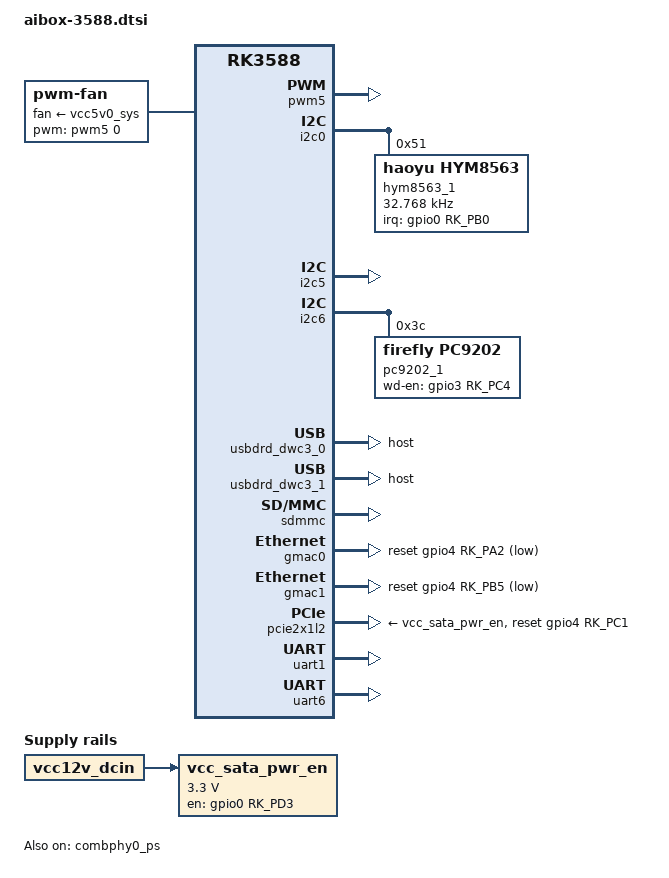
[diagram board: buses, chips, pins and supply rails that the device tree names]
// SPDX-License-Identifier: (GPL-2.0+ OR MIT)
/*
 * Copyright (c) 2021 Rockchip Electronics Co., Ltd.
 *
 */
 
 #define rk3588
 #include "rk3588-firefly-port.dtsi"
 #include "rk3588-diff.dtsi"

#define M2_SATA_OR_PCIE 0 /*1 = SATA , 0 = PCIe */

 / {
/* led */
	firefly_leds: leds {
		pinctrl-names = "default";
		pinctrl-0 =<&leds_gpio>;
		power_led: power {
			gpios = <&gpio2 RK_PC3 GPIO_ACTIVE_HIGH>;//blue led
		};

		user_led: user {
			gpios = < &gpio3 RK_PC1 GPIO_ACTIVE_HIGH>;//red led
		};

		user1_led: user1 {
			label = ":user1"; 
			default-state = "off";
			gpios = <&gpio3 RK_PC0 GPIO_ACTIVE_HIGH>;//green led
		};
	};

 	fan: pwm-fan {
		compatible = "pwm-fan";
		#cooling-cells = <2>;
		fan-supply = <&vcc5v0_sys>;
		pwms = <&pwm5 0 50000 0>;
		cooling-levels = <0 50 100 150 200 255>;
        rockchip,temp-trips = <
            50000   1
            55000   2
            60000   3
            65000   4
            70000   5
        >;
	};
};

&fiq_debugger{
	rockchip,baudrate = <115200>;  /* Only 115200 and 1500000 */
};

&pwm5 {
	pinctrl-0 = <&pwm5m1_pins>;
	status = "okay";
};

&i2c0 {

	status = "okay";

/* rtc */
	hym8563_1: hym8563_1@51 {
		compatible = "haoyu,hym8563";
		reg = <0x51>;
		#clock-cells = <0>;
		clock-frequency = <32768>;
		clock-output-names = "hym8563";
		pinctrl-names = "default";
		pinctrl-0 = <&hym8563_int>;
		interrupt-parent = <&gpio0>;
		interrupts = <RK_PB0 IRQ_TYPE_LEVEL_LOW>;
		wakeup-source;
		status = "okay";
	};

/* watch dog on core*/
    pc9202@3c {
        status = "disabled";
        compatible = "firefly,pc9202";
        reg = <0x3c>;
        wd-en-gpio = <&gpio2 RK_PC5 GPIO_ACTIVE_HIGH>;
    };
};

/* export pins */
&i2c5 {
	status = "okay";
	pinctrl-names = "default";
	pinctrl-0 = <&i2c5m0_xfer>;
};

&i2c6 {
	status = "okay";
	pinctrl-names = "default";
	pinctrl-0 = <&i2c6m0_xfer>;

/* watch dog on mother base*/
    pc9202_1@3c {
        status = "okay";
        compatible = "firefly,pc9202";
        reg = <0x3c>;
        wd-en-gpio = <&gpio3 RK_PC4 GPIO_ACTIVE_HIGH>;
    };
};

/* usb */
&vcc5v0_host{
	status = "okay";
	gpio = <&gpio4 RK_PC6 GPIO_ACTIVE_HIGH>;  
};
//up
&usbdrd_dwc3_0{
	/delete-property/ usb-role-switch;
	/delete-property/ dwc3_0_role_switch;
	dr_mode = "host";
};
//down
&usbdrd_dwc3_1{
	dr_mode = "host";
};

/* tf-card */
&sdmmc {
	status = "okay";
};

&vcc_sdcard_pwr_en{
	gpio = <&gpio1 RK_PA7 GPIO_ACTIVE_HIGH>; 
	status = "okay";
};

/* gamc0 */
&gmac0 {
	snps,reset-gpio = <&gpio4 RK_PA2 GPIO_ACTIVE_LOW>;
	tx_delay = <0x37>;
	status = "okay";
};

&gmac0_tx_bus2{
    rockchip,pins =
    /* gmac0_txd0 */
    <2 RK_PB6 1 &pcfg_pull_up_drv_level_6>,
    /* gmac0_txd1 */
    <2 RK_PB7 1 &pcfg_pull_up_drv_level_6>,
    /* gmac0_txen */
    <2 RK_PC0 1 &pcfg_pull_none>;
};

&gmac0_rgmii_bus{
	rockchip,pins =
	/* gmac0_rxd2 */
	<2 RK_PA6 1 &pcfg_pull_none>,
	/* gmac0_rxd3 */
	<2 RK_PA7 1 &pcfg_pull_none>,
	/* gmac0_txd2 */
	<2 RK_PB1 1 &pcfg_pull_up_drv_level_6>,
	/* gmac0_txd3 */
	<2 RK_PB2 1 &pcfg_pull_up_drv_level_6>;
};

/* gmac1 */
&gmac1 {
	snps,reset-gpio = <&gpio4 RK_PB5 GPIO_ACTIVE_LOW>;
	tx_delay = <0x47>;
	status = "okay";
};

&gmac1_tx_bus2{
	rockchip,pins =
	/* gmac1_txd0 */
	<3 RK_PB3 1 &pcfg_pull_up_drv_level_6>,
    /* gmac1_txd1 */
	<3 RK_PB4 1 &pcfg_pull_up_drv_level_6>,
	/* gmac1_txen */
	<3 RK_PB5 1 &pcfg_pull_none>;
};

&gmac1_rgmii_bus{
	rockchip,pins =
	/* gmac1_rxd2 */
	<3 RK_PA2 1 &pcfg_pull_none>,
	/* gmac1_rxd3 */
	<3 RK_PA3 1 &pcfg_pull_none>,
	/* gmac1_txd2 */
	<3 RK_PA0 1 &pcfg_pull_up_drv_level_6>,
	/* gmac1_txd3 */
	<3 RK_PA1 1 &pcfg_pull_up_drv_level_6>;
};

/* sata pm */
&combphy0_ps {
	status = "okay";
};


#if M2_SATA_OR_PCIE
&sata0 {
    //pinctrl-names = "default";
    //pinctrl-0 = <&sata_reset>;
	status = "okay";
};
#else
&pcie2x1l2 {
	reset-gpios = <&gpio4 RK_PC1 GPIO_ACTIVE_HIGH>;
	vpcie3v3-supply = <&vcc_sata_pwr_en>;
	status = "okay";
};
#endif

&vcc_sata_pwr_en{
	status = "okay";
	gpio = <&gpio0 RK_PD3 GPIO_ACTIVE_HIGH>;  
	regulator-min-microvolt = <3300000>;
	regulator-max-microvolt = <3300000>;
	regulator-always-on;
	enable-active-high;
	startup-delay-us = <5000>;
	vin-supply = <&vcc12v_dcin>;
};

/* uart1 for 232 */
&uart1{
	pinctrl-0 = <&uart1m1_xfer>;
	status = "okay";
};

/* uart6 for 485 and 485_RE_DE is GPIO4_C3_d*/
&uart6{
	pinctrl-0 = <&uart6m1_xfer>;
	status = "okay";
};

/* pinctrl */
&pinctrl {
	headphone {
		hp_det: hp-det {
			rockchip,pins = <1 RK_PC4 RK_FUNC_GPIO &pcfg_pull_none>;
		};
	};

	leds {
		leds_gpio: leds-gpio {
			/* led_power */
			rockchip,pins = <3 16 RK_FUNC_GPIO &pcfg_pull_none>,
							<3 17 RK_FUNC_GPIO &pcfg_pull_none>,
							<2 19 RK_FUNC_GPIO &pcfg_pull_none>;
		};
 	};

 	hym8563 {
		hym8563_int: hym8563-int {
			rockchip,pins = <0 RK_PB0 RK_FUNC_GPIO &pcfg_pull_none>;
		};
	};

	usb-typec { 
		usbc0_int: usbc0-int { 
			rockchip,pins = <0 RK_PD3 RK_FUNC_GPIO &pcfg_pull_none>; 
		}; 
	};

	hdmirx {
		hdmirx_det: hdmirx-det {
			rockchip,pins = <1 RK_PD5 RK_FUNC_GPIO &pcfg_pull_none>;
		};
	};

	wireless-bluetooth {
		uart6_gpios: uart6-gpios {
			rockchip,pins = <1 RK_PA2 RK_FUNC_GPIO &pcfg_pull_none>;
		};

		bt_reset_gpio: bt-reset-gpio {
			rockchip,pins = <0 RK_PC6 RK_FUNC_GPIO &pcfg_pull_none>;
		};

		bt_wake_gpio: bt-wake-gpio {
			rockchip,pins = <0 RK_PC5 RK_FUNC_GPIO &pcfg_pull_none>;
		};

		bt_irq_gpio: bt-irq-gpio {
			rockchip,pins = <0 RK_PA0 RK_FUNC_GPIO &pcfg_pull_none>;
		};
	};

	wireless-wlan {
		wifi_host_wake_irq: wifi-host-wake-irq {
			rockchip,pins = <0 RK_PB2 RK_FUNC_GPIO &pcfg_pull_none>;
		};

		wifi_poweren_gpio: wifi-poweren-gpio {
			rockchip,pins = <0 RK_PC4 RK_FUNC_GPIO &pcfg_pull_none>;
		};
	};
};
